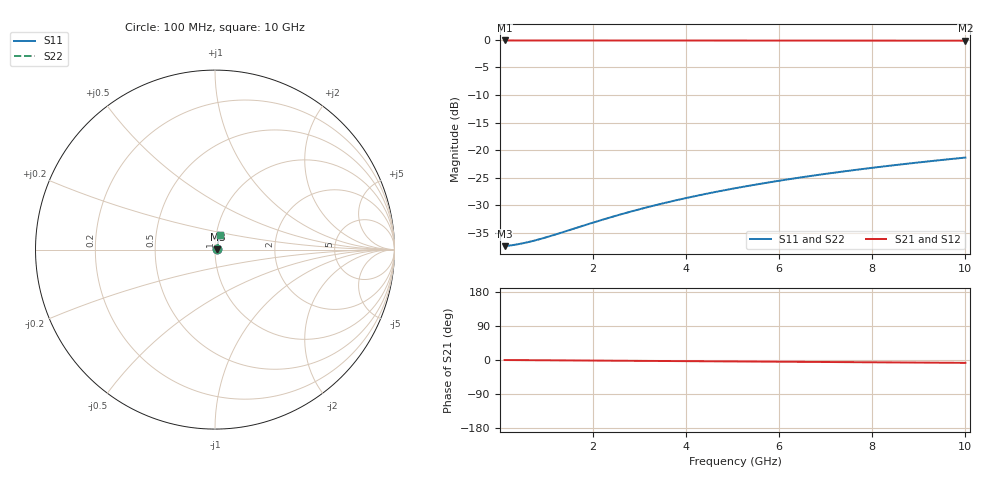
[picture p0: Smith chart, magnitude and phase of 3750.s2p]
# Hz S RI R 50.00
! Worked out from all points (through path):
!   100 points, 100 MHz to 10 GHz, reference 50 ohm
!   highest |S21| = -0.12 dB at 100 MHz (marker M1); lowest = -0.2 dB at 10 GHz (marker M2)
!   group delay of S21, straight-line fit = 2.1 ps
!   lowest |S11| = -37.4 dB at 100 MHz (marker M3), VSWR 1.03, Z = 51.4 + j0.0853 ohm
!   |S11| at or under -10 dB: start of sweep to end of sweep
!   |S22| runs from -37.4 to -21.4 dB; largest |S21 - S12| = 0
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1e8  0.0134 0.00083  0.9866 -0.0013  0.9866 -0.0013  0.0134 0.00083
3e8  0.0136 0.00249  0.9864 -0.00391  0.9864 -0.00391  0.0136 0.00249
4e8  0.0137 0.00332  0.9863 -0.00521  0.9863 -0.00521  0.0137 0.00332
6e8  0.0138 0.00498  0.9862 -0.00781  0.9862 -0.00781  0.0138 0.00498
8e8  0.0139 0.00664  0.9861 -0.0104  0.9861 -0.0104  0.0139 0.00664
1.2e9  0.014 0.00995  0.9859 -0.0156  0.9859 -0.0156  0.014 0.00995
1.8e9  0.0144 0.0149  0.9856 -0.0234  0.9856 -0.0234  0.0144 0.0149
2.2e9  0.0146 0.0182  0.9853 -0.0286  0.9853 -0.0286  0.0146 0.0182
2.6e9  0.0149 0.0215  0.9851 -0.0338  0.9851 -0.0338  0.0149 0.0215
3e9  0.0152 0.0248  0.9847 -0.039  0.9847 -0.039  0.0152 0.0248
3.4e9  0.0155 0.0281  0.9844 -0.0442  0.9844 -0.0442  0.0155 0.0281
3.8e9  0.0158 0.0314  0.984 -0.0494  0.984 -0.0494  0.0158 0.0314
4.2e9  0.0162 0.0347  0.9836 -0.0546  0.9836 -0.0546  0.0162 0.0347
4.6e9  0.0166 0.038  0.9831 -0.0597  0.9831 -0.0597  0.0166 0.038
5.1e9  0.0172 0.0421  0.9825 -0.0662  0.9825 -0.0662  0.0172 0.0421
5.5e9  0.0177 0.0454  0.9819 -0.0714  0.9819 -0.0714  0.0177 0.0454
5.9e9  0.0182 0.0486  0.9813 -0.0765  0.9813 -0.0765  0.0182 0.0486
6.7e9  0.0194 0.0552  0.9801 -0.0868  0.9801 -0.0868  0.0194 0.0552
7.5e9  0.0207 0.0616  0.9786 -0.0971  0.9786 -0.0971  0.0207 0.0616
8.4e9  0.0223 0.0689  0.9769 -0.1086  0.9769 -0.1086  0.0223 0.0689
9.2e9  0.0239 0.0753  0.9751 -0.1188  0.9751 -0.1188  0.0239 0.0753
1e10  0.0256 0.0816  0.9732 -0.1289  0.9732 -0.1289  0.0256 0.0816
